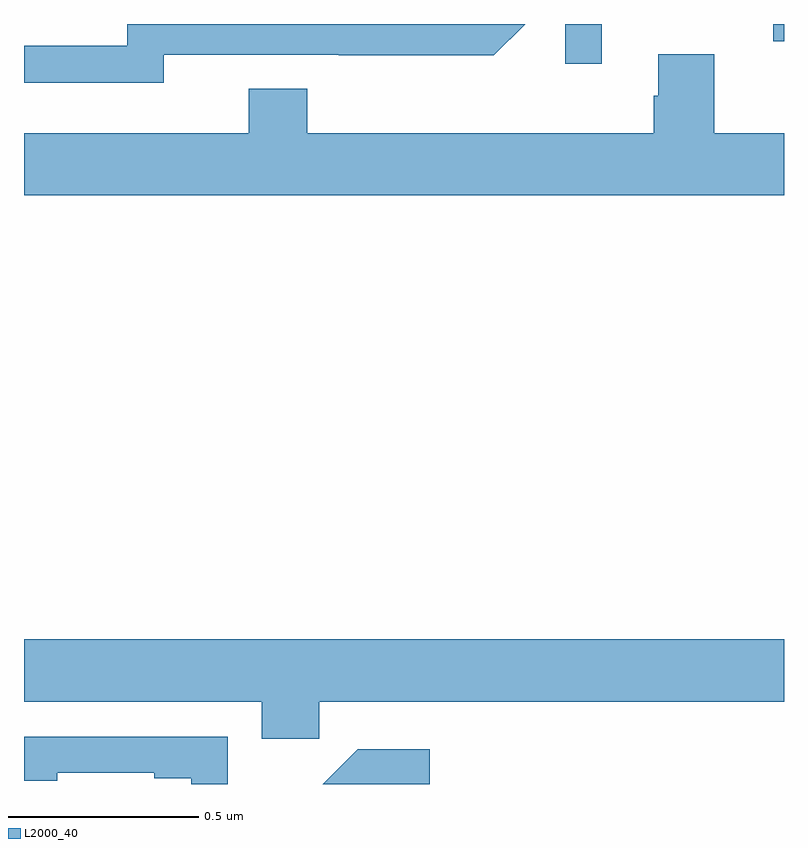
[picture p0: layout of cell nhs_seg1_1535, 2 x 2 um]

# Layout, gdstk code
import gdstk
lib = gdstk.Library(unit=1e-6, precision=1e-09)
def R(c, l, rs):  # rectangles x0, y0, x1, y1
    for r in rs: c.add(gdstk.rectangle(r[:2], r[2:], *l))
def P(c, l, *ps):  # polygons
    for p in ps: c.add(gdstk.Polygon(p, *l))
L2000_40 = (2000, 40)

nhs_seg1_1535 = lib.new_cell('nhs_seg1_1535')
R(nhs_seg1_1535, L2000_40, [(131.424,536.094,131.521,536.199), (131.972,536.154,132,536.199)])
P(nhs_seg1_1535, L2000_40, [(130.368,536.118),(130.828,536.118),(130.828,536.117),(131.236,536.117),(131.319,536.199),(130.272,536.199),(130.272,536.142),(130,536.142),(130,536.045),(130.368,536.045)],
  [(132,535.912),(131.817,535.912),(131.817,536.12),(131.669,536.12),(131.669,536.01),(131.657,536.01),(131.657,535.912),(130.745,535.912),(130.745,536.029),(130.592,536.029),(130.592,535.912),(130,535.912),(130,535.748),(132,535.748)],
  [(130.777,534.416),(132,534.416),(132,534.58),(130,534.58),(130,534.416),(130.625,534.416),(130.625,534.318),(130.777,534.318)],
  [(130.536,534.324),(130,534.324),(130,534.208),(130.087,534.208),(130.087,534.228),(130.343,534.228),(130.343,534.214),(130.44,534.214),(130.44,534.199),(130.536,534.199)],
  [(131.068,534.291),(130.878,534.291),(130.786,534.199),(131.068,534.199)])

lib.write_gds('nhs_seg1_1535.gds')
